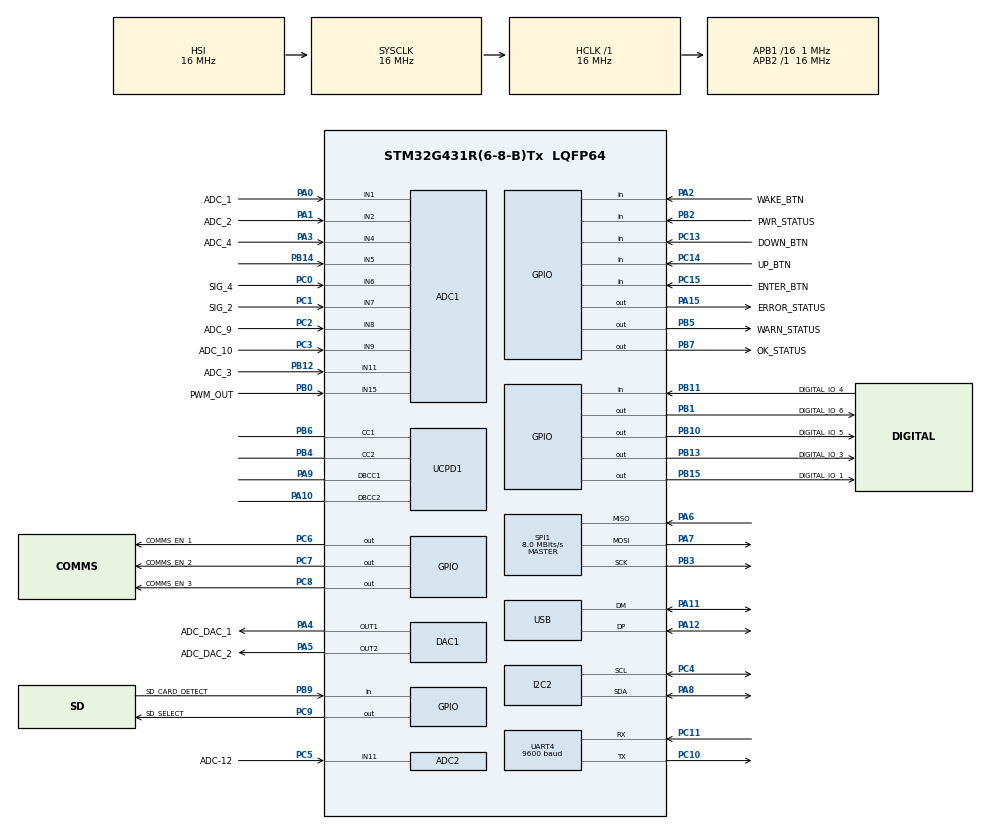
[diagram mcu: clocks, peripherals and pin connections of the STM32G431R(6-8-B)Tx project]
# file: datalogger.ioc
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ADC1.Channel-0\#ChannelRegularConversion=ADC_CHANNEL_1
ADC1.NbrOfConversionFlag=1
ADC1.OffsetNumber-0\#ChannelRegularConversion=ADC_OFFSET_NONE
ADC1.Rank-0\#ChannelRegularConversion=1
ADC1.SamplingTime-0\#ChannelRegularConversion=ADC_SAMPLETIME_2CYCLES_5
ADC1.master=1
ADC2.Channel-0\#ChannelRegularConversion=ADC_CHANNEL_11
ADC2.NbrOfConversionFlag=1
ADC2.OffsetNumber-0\#ChannelRegularConversion=ADC_OFFSET_NONE
ADC2.Rank-0\#ChannelRegularConversion=1
ADC2.SamplingTime-0\#ChannelRegularConversion=ADC_SAMPLETIME_2CYCLES_5
DAC1.DAC_Channel-DAC_OUT2=DAC_CHANNEL_2
I2C2.Timing=0x00000103
Mcu.Family=STM32G4
Mcu.Name=STM32G431R(6-8-B)Tx
Mcu.Package=LQFP64
NVIC.PriorityGroup=NVIC_PRIORITYGROUP_4
NVIC.USB_LP_IRQn=true\:0\:0\:false\:false\:true\:false\:true\:true
PA0.GPIO_Label=ADC_1
PA0.Mode=IN1-Single-Ended
PA0.Signal=ADC1_IN1
PA1.GPIO_Label=ADC_2
PA1.Mode=IN2-Single-Ended
PA1.Signal=ADC1_IN2
PA10.Mode=EnableDeadBattery
PA10.Signal=UCPD1_DBCC2
PA11.Mode=Device
PA11.Signal=USB_DM
PA12.Mode=Device
PA12.Signal=USB_DP
PA13.Mode=Serial_Wire
PA13.Signal=SYS_JTMS-SWDIO
PA14.Mode=Serial_Wire
PA14.Signal=SYS_JTCK-SWCLK
PA15.GPIO_Label=ERROR_STATUS
PA15.GPIO_ModeDefaultOutputPP=GPIO_MODE_OUTPUT_PP
PA15.GPIO_PuPd=GPIO_NOPULL
PA15.Signal=GPIO_Output
PA2.GPIO_Label=WAKE_BTN
PA2.Signal=GPIO_Input
PA3.GPIO_Label=ADC_4
PA3.Mode=IN4-Single-Ended
PA3.Signal=ADC1_IN4
PA4.GPIO_Label=ADC_DAC_1
PA4.Signal=COMP_DAC11_group
PA5.GPIO_Label=ADC_DAC_2
PA5.Signal=COMP_DAC12_group
PA6.Mode=Full_Duplex_Master
PA6.Signal=SPI1_MISO
PA7.Mode=Full_Duplex_Master
PA7.Signal=SPI1_MOSI
PA8.Mode=I2C
PA8.Signal=I2C2_SDA
PA9.Mode=EnableDeadBattery
PA9.Signal=UCPD1_DBCC1
PB0.GPIO_Label=PWM_OUT
PB0.Mode=IN15-Single-Ended
PB0.Signal=ADC1_IN15
PB1.GPIO_Label=DIGITAL_IO_6
PB1.Signal=GPIO_Output
PB10.GPIO_Label=DIGITAL_IO_5
PB10.Signal=GPIO_Output
PB11.GPIO_Label=DIGITAL_IO_4
PB11.Signal=GPIO_Input
PB12.GPIO_Label=ADC_3
PB12.Mode=IN11-Single-Ended
PB12.Signal=ADC1_IN11
PB13.GPIO_Label=DIGITAL_IO_3
PB13.Signal=GPIO_Output
PB14.Mode=IN5-Single-Ended
PB14.Signal=ADC1_IN5
PB15.GPIO_Label=DIGITAL_IO_1
PB15.Signal=GPIO_Output
PB2.GPIO_Label=PWR_STATUS
PB2.Signal=GPIO_Input
PB3.Signal=SharedStack_PB3
PB3.Stacked=true
PB4.Mode=Sink_AllSignals
PB4.Signal=UCPD1_CC2
PB5.GPIO_Label=WARN_STATUS
PB5.GPIO_PuPd=GPIO_NOPULL
PB5.Signal=GPIO_Output
PB6.Mode=Sink_AllSignals
PB6.Signal=UCPD1_CC1
PB7.GPIO_Label=OK_STATUS
PB7.GPIO_ModeDefaultOutputPP=GPIO_MODE_OUTPUT_PP
PB7.GPIO_PuPd=GPIO_NOPULL
PB7.PinState=GPIO_PIN_RESET
PB7.Signal=GPIO_Output
PB9.GPIO_Label=SD_CARD_DETECT
PB9.Signal=GPIO_Input
PC0.GPIO_Label=SIG_4
PC0.Mode=IN6-Single-Ended
PC0.Signal=ADC1_IN6
PC1.GPIO_Label=SIG_2
PC1.Mode=IN7-Single-Ended
PC1.Signal=ADC1_IN7
PC10.Mode=Asynchronous
PC10.Signal=UART4_TX
PC11.Mode=Asynchronous
PC11.Signal=UART4_RX
PC13.GPIO_Label=DOWN_BTN
PC13.Signal=GPIO_Input
PC14-OSC32_IN.GPIO_Label=UP_BTN
PC14-OSC32_IN.Signal=GPIO_Input
PC15-OSC32_OUT.GPIO_Label=ENTER_BTN
PC15-OSC32_OUT.Signal=GPIO_Input
PC2.GPIO_Label=ADC_9
PC2.Mode=IN8-Single-Ended
PC2.Signal=ADC1_IN8
PC3.GPIO_Label=ADC_10
PC3.Mode=IN9-Single-Ended
PC3.Signal=ADC1_IN9
PC4.Mode=I2C
PC4.Signal=I2C2_SCL
PC5.GPIO_Label=ADC-12
PC5.Mode=IN11-Single-Ended
PC5.Signal=ADC2_IN11
PC6.GPIO_Label=COMMS_EN_1
PC6.Signal=GPIO_Output
PC7.GPIO_Label=COMMS_EN_2
PC7.Signal=GPIO_Output
PC8.GPIO_Label=COMMS_EN_3
PC8.Signal=GPIO_Output
PC9.GPIO_Label=SD_SELECT
PC9.Signal=GPIO_Output
PF0-OSC_IN.Mode=HSE-External-Oscillator
PF0-OSC_IN.Signal=RCC_OSC_IN
PF1-OSC_OUT.Mode=HSE-External-Oscillator
PF1-OSC_OUT.Signal=RCC_OSC_OUT
ProjectManager.HeapSize=0x200
ProjectManager.StackSize=0x400
ProjectManager.TargetToolchain=STM32CubeIDE
RCC.AHBFreq_Value=16000000
RCC.APB1CLKDivider=RCC_HCLK_DIV16
RCC.APB1Freq_Value=1000000
RCC.APB1TimFreq_Value=2000000
RCC.APB2Freq_Value=16000000
RCC.APB2TimFreq_Value=16000000
RCC.CortexFreq_Value=16000000
RCC.EXTERNAL_CLOCK_VALUE=12288000
RCC.HCLKFreq_Value=16000000
RCC.HSE_VALUE=8000000
RCC.HSI48_VALUE=48000000
RCC.HSI_VALUE=16000000
RCC.LSE_VALUE=32768
RCC.PLLN=12
RCC.PLLQ=RCC_PLLQ_DIV4
RCC.SYSCLKFreq_VALUE=16000000
RCC.USBFreq_Value=48000000
RCC.VCOOutputFreq_Value=192000000
RTC.WakeUpClock-WakeUp=RTC_WAKEUPCLOCK_CK_SPRE_17BITS
RTC.WakeUpCounter-WakeUp=65535
SH.COMP_DAC11_group.0=DAC1_OUT1,DAC_OUT1
SH.COMP_DAC12_group.0=DAC1_OUT2,DAC_OUT2
SH.SharedStack_PB3.0=SPI1_SCK,Full_Duplex_Master
SH.SharedStack_PB3.1=SYS_JTDO-SWO
SPI1.CalculateBaudRate=8.0 MBits/s
SPI1.Direction=SPI_DIRECTION_2LINES
SPI1.Mode=SPI_MODE_MASTER
SPI1.VirtualType=VM_MASTER
UART4.BaudRate=9600
USB_DEVICE.CLASS_NAME_FS=CDC
USB_DEVICE.VirtualMode=Cdc
USB_DEVICE.VirtualModeFS=Cdc_FS
VP_ADC1_Vbat_Input.Mode=IN-Vbat
VP_RTC_VS_RTC_Activate.Mode=RTC_Enabled
VP_RTC_VS_RTC_WakeUp_intern.Mode=WakeUp
VP_SYS_VS_DBSignals.Mode=DisableDeadBatterySignals
VP_USB_DEVICE_VS_USB_DEVICE_CDC_FS.Mode=CDC_FS
board=custom

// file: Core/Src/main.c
/* USER CODE BEGIN Header */
/**
  ******************************************************************************
  * @file           : main.c
  * @brief          : Main program body
  ******************************************************************************
  * @attention
  *
  * Copyright (c) 2024 STMicroelectronics.
  * All rights reserved.
  *
  * This software is licensed under terms that can be found in the LICENSE file
  * in the root directory of this software component.
  * If no LICENSE file comes with this software, it is provided AS-IS.
  *
  ******************************************************************************
  */
/* USER CODE END Header **/
#include "main.h"
#include "adc.h"
#include "dac.h"
#include "i2c.h"
#include "rtc.h"
#include "spi.h"
#include "usart.h"
#include "ucpd.h"
#include "usb_device.h"
#include "gpio.h"
#include "../../Drivers/SX1262/sx126x.h"
#include "../../Drivers/SX1262/sx126x_hal.h"

/* USER CODE BEGIN Includes */

#define SX126X_REG_VERSION 0x1D  // Command to read the version register

/* USER CODE END Includes */

/* USER CODE BEGIN PV */
// SPI_HandleTypeDef hspi1;
/* USER CODE END PV */

void SystemClock_Config(void);

/* USER CODE BEGIN 0 */
char fmt[] = "ADC:%d,count:%d,count_btn:%d,state:\"%.4s\"\r\n";
char states[][5] = {
  "work",
  "off ",
  "low ",
  "help",
  "okok",
};

/* USER CODE END 0 */

int main(void){

  /* MCU Configuration--------------------------------------------------------*/

  /* Reset of all peripherals, Initializes the Flash interface and the Systick. */
  HAL_Init();

  /* Configure the system clock */
  SystemClock_Config();

  /* Initialize all configured peripherals */
  MX_GPIO_Init();
  MX_ADC1_Init();
  MX_ADC2_Init();
  MX_DAC1_Init();
  MX_SPI1_Init();
  // MX_SPI3_Init();
  MX_UCPD1_Init();
  MX_I2C2_Init();
  MX_RTC_Init();
  MX_USB_Device_Init();
  MX_UART4_Init();
  /* USER CODE BEGIN 2 */

  adc_t ADC_1 = {
    .config = {
      .Channel = ADC_CHANNEL_1,
      .Rank = ADC_REGULAR_RANK_1,
      .SamplingTime = ADC_SAMPLETIME_6CYCLES_5,
      .SingleDiff = ADC_SINGLE_ENDED,
      .OffsetNumber = ADC_OFFSET_NONE,
      .Offset = 0
    },
    .hadc = &hadc1
  };

  // uint8_t count = 0;
  // uint8_t count_btn = 0;
  // uint8_t count_state = 0;
  // uint8_t buffer[255];
  // uint16_t ADC = 0;
  /* USER CODE END 2 */

  /* Infinite loop */
  while (1)
  {

  // test_spi_read_version();
    test_spi_loopback();

    /* USER CODE BEGIN 3 */

  // if (HAL_GPIO_ReadPin(DOWN_BTN_GPIO_Port, DOWN_BTN_Pin) == GPIO_PIN_SET) count_btn--;
  // if (HAL_GPIO_ReadPin(UP_BTN_GPIO_Port, UP_BTN_Pin) == GPIO_PIN_SET) count_btn++;
  // if (HAL_GPIO_ReadPin(ENTER_BTN_GPIO_Port, ENTER_BTN_Pin) == GPIO_PIN_SET) count_state++;
  // if (count_state >= 5) count_state = 0;

  // int amount_of_bytes = snprintf((char*) buffer, sizeof(buffer), fmt, ADC_Get_val(&ADC_1), count++, count_btn, states[count_state]);
  // int amount_of_bytes = snprintf((char*) spi_buf, sizeof(spi_buf), "%d    ", count++);
  // HAL_GPIO_WritePin(COMMS_EN_1_GPIO_Port, COMMS_EN_1_Pin, GPIO_PIN_RESET);
  // int status = HAL_SPI_Transmit(&hspi3, spi_buf, amount_of_bytes+4, 1);
  // int status = HAL_SPI_Transmit(&hspi3, &count, 1, 1);
  // HAL_GPIO_WritePin(COMMS_EN_1_GPIO_Port, COMMS_EN_1_Pin, GPIO_PIN_SET);
  // USB_Print("count : %d", count++);

  // switch (CDC_Transmit_FS((uint8_t*)buffer, amount_of_bytes)){
  // case USBD_OK: // if the usb serial is ok it will blink green
  //   HAL_GPIO_TogglePin(OK_STATUS_GPIO_Port, OK_STATUS_Pin);
  //   break;
  //  case USBD_BUSY: // if the device is busy i.e. plugged in but not monitoring it will blink blue
  //   HAL_GPIO_TogglePin(WARN_STATUS_GPIO_Port, WARN_STATUS_Pin);
  //   break;
  // case USBD_FAIL: // if the device can support USB coms device it will blink red
  //   HAL_GPIO_TogglePin(ERROR_STATUS_GPIO_Port, ERROR_STATUS_Pin);
  //   break;
  // default:
  //   break;
  // }
  // HAL_UART_Transmit(&huart4, (uint8_t *)&buffer, amount_of_bytes, 0xFFFF);
  // HAL_Delay(100);
  // amount_of_bytes = snprintf((char*) buffer, sizeof(buffer), "DOWN : %d, UP : %d, enter : %d\r\n", HAL_GPIO_ReadPin(DOWN_BTN_GPIO_Port, DOWN_BTN_Pin),HAL_GPIO_ReadPin(UP_BTN_GPIO_Port, UP_BTN_Pin),HAL_GPIO_ReadPin(ENTER_BTN_GPIO_Port, ENTER_BTN_Pin));

  // // i should really make this in to a function
  // switch (CDC_Transmit_FS((uint8_t*)buffer, amount_of_bytes)){
  // case USBD_OK: // if the usb serial is ok it will blink green
  //   HAL_GPIO_TogglePin(OK_STATUS_GPIO_Port, OK_STATUS_Pin);
  //   break;
  //  case USBD_BUSY: // if the device is busy i.e. plugged in but not monitoring it will blink blue
  //   HAL_GPIO_TogglePin(WARN_STATUS_GPIO_Port, WARN_STATUS_Pin);
  //   break;
  // case USBD_FAIL: // if the device can support USB coms device it will blink red
  //   HAL_GPIO_TogglePin(ERROR_STATUS_GPIO_Port, ERROR_STATUS_Pin);
  //   break;
  // default:
  //   break;
  // }
  // // uncomment all of the above for uart

  HAL_Delay(400);
  }
  /* USER CODE END 3 */
}

void SystemClock_Config(void)
{
  RCC_OscInitTypeDef RCC_OscInitStruct = {0};
  RCC_ClkInitTypeDef RCC_ClkInitStruct = {0};

  /** Configure the main internal regulator output voltage
  */
  HAL_PWREx_ControlVoltageScaling(PWR_REGULATOR_VOLTAGE_SCALE1);

  /** Initializes the RCC Oscillators according to the specified parameters
  * in the RCC_OscInitTypeDef structure.
  */
  RCC_OscInitStruct.OscillatorType = RCC_OSCILLATORTYPE_HSI|RCC_OSCILLATORTYPE_LSI;
  RCC_OscInitStruct.HSIState = RCC_HSI_ON;
  RCC_OscInitStruct.HSICalibrationValue = RCC_HSICALIBRATION_DEFAULT;
  RCC_OscInitStruct.LSIState = RCC_LSI_ON;
  RCC_OscInitStruct.PLL.PLLState = RCC_PLL_ON;
  RCC_OscInitStruct.PLL.PLLSource = RCC_PLLSOURCE_HSI;
  RCC_OscInitStruct.PLL.PLLM = RCC_PLLM_DIV1;
  RCC_OscInitStruct.PLL.PLLN = 12;
  RCC_OscInitStruct.PLL.PLLP = RCC_PLLP_DIV2;
  RCC_OscInitStruct.PLL.PLLQ = RCC_PLLQ_DIV4;
  RCC_OscInitStruct.PLL.PLLR = RCC_PLLR_DIV2;
  if (HAL_RCC_OscConfig(&RCC_OscInitStruct) != HAL_OK)
  {
    Error_Handler();
  }

  /** Initializes the CPU, AHB and APB buses clocks
  */
  RCC_ClkInitStruct.ClockType = RCC_CLOCKTYPE_HCLK|RCC_CLOCKTYPE_SYSCLK
                              |RCC_CLOCKTYPE_PCLK1|RCC_CLOCKTYPE_PCLK2;
  RCC_ClkInitStruct.SYSCLKSource = RCC_SYSCLKSOURCE_HSI;
  RCC_ClkInitStruct.AHBCLKDivider = RCC_SYSCLK_DIV1;
  RCC_ClkInitStruct.APB1CLKDivider = RCC_HCLK_DIV16;
  RCC_ClkInitStruct.APB2CLKDivider = RCC_HCLK_DIV1;

  if (HAL_RCC_ClockConfig(&RCC_ClkInitStruct, FLASH_LATENCY_0) != HAL_OK)
  {
    Error_Handler();
  }
}

/* USER CODE BEGIN 4 */

void test_spi_read_version(void)
{
    uint8_t command = SX126X_REG_VERSION;  // Command to read the version register
    uint8_t version = 0;  // Buffer to store the read version
    char msg[64];  // Buffer to store the message

    // Perform the SPI read operation to get the version from the SX1262
    if (sx126x_hal_read(NULL, &command, 1, &version, 1) == SX126X_STATUS_OK)
    {
        snprintf(msg, sizeof(msg), "SPI Read Version Success: Version = 0x%02X\r\n", version);
    }
    else
    {
        snprintf(msg, sizeof(msg), "SPI Read Version Failed\r\n");
    }

    // Transmit the message over UART
    CDC_Transmit_FS((uint8_t*)msg, strlen(msg));
}

void test_spi_loopback(void)
{
    uint8_t tx_data = 0xAA;  // test byte
    uint8_t rx_data = 0;

    HAL_GPIO_WritePin(SX126X_NSS_GPIO_Port, SX126X_NSS_Pin, GPIO_PIN_RESET);  // pull NSS low

    // transmit and receive data
    if (HAL_SPI_TransmitReceive(&hspi1, &tx_data, &rx_data, 1, HAL_MAX_DELAY) == HAL_OK)
    {
        printf("Sent: 0x%02X, Received: 0x%02X\n", tx_data, rx_data);
        if (tx_data == rx_data)
        {
            printf("SPI Loopback Success\n");
        }
        else
        {
            printf("SPI Loopback Error: Sent and Received do not match\n");
        }
    }
    else
    {
        printf("SPI Loopback Failed\n");
    }

    HAL_GPIO_WritePin(SX126X_NSS_GPIO_Port, SX126X_NSS_Pin, GPIO_PIN_SET);  // pull NSS high
}

/* USER CODE END 4 */

void Error_Handler(void)
{
  __disable_irq();
  while (1)
  {
  }
}
